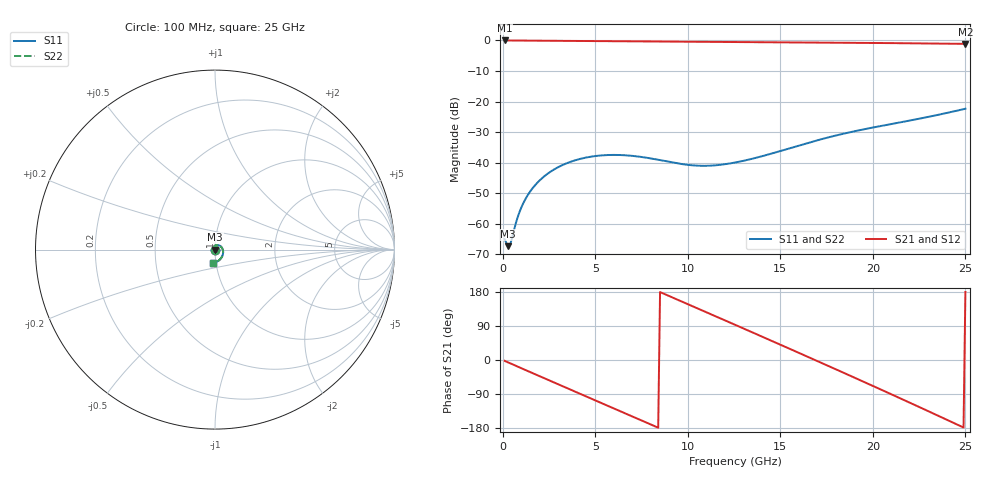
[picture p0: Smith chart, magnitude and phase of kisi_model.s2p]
! kisi A_s4_d300_ap1000: fast channel model (formula impedances, via model), up to 25 GHz
# Hz S RI R 50
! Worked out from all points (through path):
!   250 points, 100 MHz to 25 GHz, reference 50 ohm
!   highest |S21| = -0.01 dB at 100 MHz (marker M1); lowest = -1.1 dB at 25 GHz (marker M2)
!   group delay of S21, straight-line fit = 59.8 ps
!   lowest |S11| = -67.3 dB at 300 MHz (marker M3), VSWR 1.00, Z = 50 + j0.0215 ohm
!   |S11| at or under -10 dB: start of sweep to end of sweep
!   |S22| runs from -67.3 to -22.4 dB; largest |S21 - S12| = 0
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1e8  0.000562 9.75e-06  0.998 -0.0385  0.998 -0.0385  0.000562 9.75e-06
3e8  0.000373 0.000215  0.9911 -0.1138  0.9911 -0.1138  0.000373 0.000215
4e8  0.000271 0.000369  0.9856 -0.151  0.9856 -0.151  0.000271 0.000369
1e9  -0.000105 0.00183  0.9242 -0.3658  0.9242 -0.3658  -0.000105 0.00183
1.7e9  0.000483 0.00409  0.7959 -0.5898  0.7959 -0.5898  0.000483 0.00409
3e9  0.00478 0.00698  0.4288 -0.8864  0.4288 -0.8864  0.00478 0.00698
4.3e9  0.0105 0.00522  -0.03 -0.9784  -0.03 -0.9784  0.0105 0.00522
5.4e9  0.0132 0.000207  -0.4126 -0.8823  -0.4126 -0.8823  0.0132 0.000207
6.6e9  0.0117 -0.00621  -0.7473 -0.6165  -0.7473 -0.6165  0.0117 -0.00621
8.4e9  0.00273 -0.0108  -0.9608 -0.0229  -0.9608 -0.0229  0.00273 -0.0108
1.03e10  -0.00639 -0.00637  -0.7408 0.5997  -0.7408 0.5997  -0.00639 -0.00637
1.15e10  -0.00897 -0.00127  -0.4074 0.856  -0.4074 0.856  -0.00897 -0.00127
1.26e10  -0.00955 0.00334  -0.0324 0.9428  -0.0324 0.9428  -0.00955 0.00334
1.44e10  -0.00855 0.0108  0.558 0.7509  0.558 0.7509  -0.00855 0.0108
1.56e10  -0.00594 0.0165  0.8249 0.4301  0.8249 0.4301  -0.00594 0.0165
1.67e10  -0.000554 0.0219  0.9233 0.0603  0.9233 0.0603  -0.000554 0.0219
1.86e10  0.0175 0.0252  0.7256 -0.5594  0.7256 -0.5594  0.0175 0.0252
1.98e10  0.0318 0.018  0.3995 -0.8178  0.3995 -0.8178  0.0318 0.018
2.09e10  0.0422 0.00303  0.0274 -0.9039  0.0274 -0.9039  0.0422 0.00303
2.2e10  0.0451 -0.0188  -0.3469 -0.8283  -0.3469 -0.8283  0.0451 -0.0188
2.32e10  0.035 -0.046  -0.6787 -0.5769  -0.6787 -0.5769  0.035 -0.046
2.5e10  -0.0105 -0.0755  -0.8784 0.00721  -0.8784 0.00721  -0.0105 -0.0755
